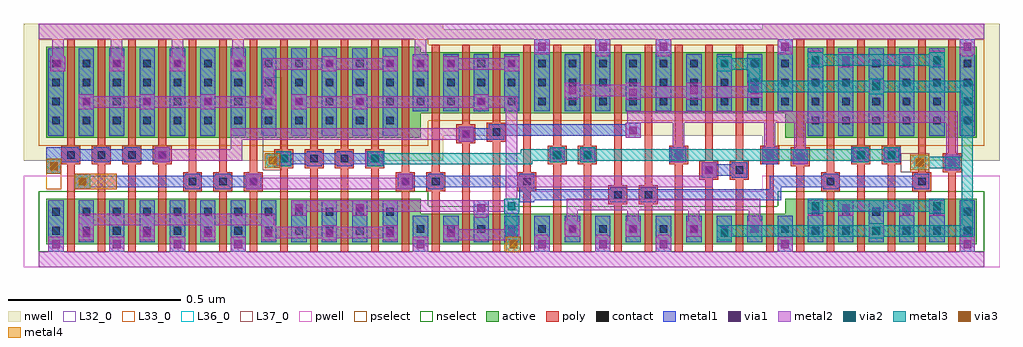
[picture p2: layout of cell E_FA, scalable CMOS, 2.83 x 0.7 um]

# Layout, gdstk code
import gdstk
lib = gdstk.Library(unit=1e-6, precision=1e-09)
def R(c, l, rs):  # rectangles x0, y0, x1, y1
    for r in rs: c.add(gdstk.rectangle(r[:2], r[2:], *l))
def A(c, l, x, y, w, h, nx, ny, dx, dy):  # array of equal rectangles
    R(c, l, [(x+i*dx, y+j*dy, x+i*dx+w, y+j*dy+h) for i in range(nx) for j in range(ny)])
contact = (25, 0)
via3 = (30, 0)
metal4 = (31, 0)
L32_0 = (32, 0)
L33_0 = (33, 0)
L36_0 = (36, 0)
L37_0 = (37, 0)
pwell = (41, 0)
nwell = (42, 0)
active = (43, 0)
pselect = (44, 0)
nselect = (45, 0)
poly = (46, 0)
metal1 = (49, 0)
via1 = (50, 0)
metal2 = (51, 0)
via2 = (61, 0)
metal3 = (62, 0)

e_fa = lib.new_cell('E_FA')
A(e_fa, contact, -1.446, -0.258, 0.022, 0.022, 10, 2, 0.088, 0.484)
A(e_fa, contact, -0.654, -0.258, 0.022, 0.022, 3, 1, 0.088, 0)
A(e_fa, contact, 0.754, -0.258, 0.022, 0.022, 6, 2, 0.088, 0.055)
A(e_fa, contact, -0.39, -0.253, 0.022, 0.022, 3, 1, 0.088, 0)
A(e_fa, contact, -0.126, -0.253, 0.022, 0.022, 5, 1, 0.088, 0)
A(e_fa, contact, 0.226, -0.253, 0.022, 0.022, 4, 1, 0.088, 0)
A(e_fa, contact, -1.446, -0.203, 0.022, 0.022, 12, 2, 0.088, 0.264)
A(e_fa, contact, -1.05, -0.115, 0.022, 0.022, 3, 1, 0.088, 0)
A(e_fa, contact, -0.786, -0.049, 0.022, 0.022, 4, 1, 0.088, 0)
A(e_fa, contact, -1.402, -0.038, 0.022, 0.022, 4, 1, 0.088, 0)
A(e_fa, contact, 0.094, -0.038, 0.022, 0.022, 4, 1, 0.264, 0)
A(e_fa, contact, 0.754, 0.061, 0.022, 0.022, 6, 1, 0.088, 0)
A(e_fa, contact, -1.446, 0.116, 0.022, 0.022, 4, 1, 0.088, 0)
A(e_fa, contact, -1.182, 0.116, 0.022, 0.022, 5, 1, 0.088, 0)
A(e_fa, contact, -0.83, 0.116, 0.022, 0.022, 24, 1, 0.088, 0)
A(e_fa, contact, -1.446, 0.171, 0.022, 0.022, 14, 1, 0.088, 0)
A(e_fa, contact, -0.214, 0.171, 0.022, 0.022, 17, 1, 0.088, 0)
A(e_fa, contact, -0.654, 0.226, 0.022, 0.022, 22, 1, 0.088, 0)
R(e_fa, contact, [(-0.214,-0.253,-0.192,-0.231), (-0.126,-0.253,-0.104,-0.231), (0.49,-0.253,0.512,-0.231), (0.578,-0.253,0.6,-0.231), (0.578,-0.253,0.6,-0.231), (0.666,-0.253,0.688,-0.231), (0.182,-0.154,0.204,-0.132), (0.27,-0.154,0.292,-0.132), (-0.434,-0.115,-0.412,-0.093), (-0.346,-0.115,-0.324,-0.093), (-0.082,-0.115,-0.06,-0.093), (0.798,-0.115,0.82,-0.093), (1.062,-0.115,1.084,-0.093), (0.446,-0.082,0.468,-0.06), (0.534,-0.082,0.556,-0.06), (1.15,-0.06,1.172,-0.038), (0.71,-0.044,0.732,-0.022), (0.006,-0.038,0.028,-0.016), (0.974,-0.038,0.996,-0.016), (-0.258,0.022,-0.236,0.044), (-0.17,0.028,-0.148,0.05), (-0.302,0.171,-0.28,0.193), (-0.214,0.171,-0.192,0.193)])
R(e_fa, via3, [(-0.121,-0.297,-0.099,-0.275), (-1.369,-0.115,-1.347,-0.093), (-1.452,-0.071,-1.43,-0.049), (1.056,-0.06,1.078,-0.038), (-0.819,-0.055,-0.797,-0.033)])
R(e_fa, metal4, [(-0.132,-0.308,-0.088,-0.264), (-0.132,-0.308,-0.088,-0.264), (-0.126,-0.302,-0.093,-0.269), (-1.38,-0.126,-1.336,-0.082), (-1.38,-0.126,-1.259,-0.082), (-1.463,-0.082,-1.419,-0.038), (-1.463,-0.082,-1.419,-0.038), (-1.457,-0.077,-1.424,-0.044), (1.04,-0.071,1.095,-0.027), (1.04,-0.071,1.095,-0.027), (-0.83,-0.066,-0.786,-0.022), (-0.83,-0.066,-0.786,-0.022), (1.051,-0.066,1.084,-0.033), (-0.825,-0.06,-0.792,-0.027)])
R(e_fa, L32_0, [(-0.121,-0.297,-0.099,-0.275), (-1.452,-0.071,-1.43,-0.049), (1.056,-0.06,1.078,-0.038), (-0.819,-0.055,-0.797,-0.033)])
R(e_fa, L33_0, [(-0.137,-0.308,-0.093,-0.264), (-0.132,-0.308,-0.088,-0.264), (-1.463,-0.126,-1.419,-0.038), (-1.463,-0.082,-1.419,-0.038), (1.04,-0.077,1.095,-0.022), (-0.836,-0.071,-0.781,-0.016), (1.04,-0.071,1.095,-0.027), (-0.83,-0.066,-0.786,-0.022), (1.051,-0.066,1.084,-0.033), (-0.825,-0.06,-0.792,-0.027)])
R(e_fa, L36_0, [(1.051,-0.066,1.084,-0.033), (-0.825,-0.06,-0.792,-0.027)])
R(e_fa, L37_0, [(1.012,-0.077,1.095,-0.022), (1.04,-0.077,1.095,-0.022), (-0.836,-0.071,-0.781,-0.016), (-0.836,-0.071,-0.781,0.198)])
A(e_fa, pwell, -1.529, -0.352, 0.187, 0.264, 12, 1, 0.088, 0)
A(e_fa, pwell, -1.501, -0.352, 0.22, 0.264, 12, 1, 0.088, 0)
A(e_fa, pwell, -0.473, -0.352, 0.187, 0.22, 13, 1, 0.088, 0)
A(e_fa, pwell, -0.445, -0.352, 0.22, 0.22, 12, 1, 0.088, 0)
A(e_fa, pwell, 0.611, -0.352, 0.22, 0.264, 6, 1, 0.088, 0)
A(e_fa, pwell, 0.671, -0.352, 0.187, 0.264, 6, 1, 0.088, 0)
A(e_fa, pwell, -0.201, -0.324, 0.168, 0.165, 3, 1, 0.003, 0)
A(e_fa, pwell, -0.019, -0.324, 0.168, 0.165, 3, 1, 0.085, 0)
A(e_fa, pwell, 0.327, -0.324, 0.174, 0.165, 4, 1, 0.088, 0)
A(e_fa, pwell, -1.433, -0.302, 0.174, 0.165, 4, 1, 0.176, 0)
A(e_fa, pwell, 0.858, -0.302, 0.168, 0.165, 3, 1, 0.088, 0)
A(e_fa, pwell, 0.943, -0.302, 0.174, 0.165, 3, 1, 0.088, 0)
R(e_fa, pwell, [(-0.03,-0.352,-0.027,-0.132), (0.055,-0.352,0.058,-0.132), (0.237,-0.352,0.239,-0.132), (0.322,-0.352,0.325,-0.132), (0.501,-0.352,0.503,-0.132), (-0.737,-0.341,-0.55,-0.154), (-0.729,-0.335,-0.555,-0.17), (-0.726,-0.335,-0.558,-0.17), (-0.723,-0.335,-0.555,-0.17), (-0.297,-0.335,-0.11,-0.148), (-0.209,-0.335,-0.022,-0.148), (0.143,-0.335,0.33,-0.148), (0.407,-0.335,0.594,-0.148), (0.495,-0.335,0.682,-0.148), (-0.465,-0.324,-0.297,-0.159), (-0.459,-0.324,-0.291,-0.159), (-0.377,-0.324,-0.203,-0.159), (-0.371,-0.324,-0.203,-0.159), (-0.289,-0.324,-0.115,-0.159), (-0.286,-0.324,-0.118,-0.159), (-0.283,-0.324,-0.115,-0.159), (-0.115,-0.324,0.058,-0.159), (0.063,-0.324,0.237,-0.159), (0.154,-0.324,0.325,-0.159), (0.242,-0.324,0.41,-0.159), (0.333,-0.324,0.501,-0.159), (0.415,-0.324,0.583,-0.159), (0.506,-0.324,0.674,-0.159), (0.509,-0.324,0.677,-0.159), (0.594,-0.324,0.762,-0.159), (-1.518,-0.302,-1.35,-0.137), (-1.427,-0.302,-1.259,-0.137), (-1.345,-0.302,-1.177,-0.137), (-1.342,-0.302,-1.174,-0.137), (-1.251,-0.302,-1.083,-0.137), (-1.169,-0.302,-1.001,-0.137), (-1.166,-0.302,-0.998,-0.137), (-1.075,-0.302,-0.907,-0.137), (-0.993,-0.302,-0.825,-0.137), (-0.99,-0.302,-0.822,-0.137), (-0.899,-0.302,-0.731,-0.137), (-0.817,-0.302,-0.649,-0.137), (-0.814,-0.302,-0.646,-0.137), (-0.641,-0.302,-0.473,-0.137), (-0.638,-0.302,-0.47,-0.137), (-0.553,-0.302,-0.379,-0.137), (-0.547,-0.302,-0.379,-0.137), (0.679,-0.302,0.853,-0.137), (0.682,-0.302,0.85,-0.137), (0.767,-0.302,0.941,-0.137), (0.77,-0.302,0.938,-0.137), (0.855,-0.302,1.023,-0.137)])
A(e_fa, nwell, -1.529, -0.044, 0.187, 0.396, 12, 1, 0.088, 0)
A(e_fa, nwell, -1.501, -0.044, 0.22, 0.396, 12, 1, 0.088, 0)
A(e_fa, nwell, 0.611, -0.044, 0.22, 0.396, 6, 1, 0.088, 0)
A(e_fa, nwell, 0.671, -0.044, 0.187, 0.396, 6, 1, 0.088, 0)
A(e_fa, nwell, -0.473, 0.028, 0.187, 0.308, 13, 1, 0.088, 0)
A(e_fa, nwell, -0.445, 0.028, 0.22, 0.308, 12, 1, 0.088, 0)
A(e_fa, nwell, -0.027, 0.028, 0.002, 0.308, 3, 1, 0.264, 0)
A(e_fa, nwell, 0.679, 0.072, 0.174, 0.165, 3, 1, 0.176, 0)
R(e_fa, nwell, [(-0.03,0.028,-0.027,0.336), (0.055,0.028,0.058,0.336), (0.234,0.028,0.237,0.336), (0.322,0.028,0.325,0.336), (-1.265,0.033,-1.078,0.22), (-0.913,0.033,-0.726,0.22), (-1.257,0.044,-1.089,0.209), (-1.257,0.044,-1.089,0.209), (-0.905,0.044,-0.737,0.209), (-0.905,0.044,-0.737,0.209), (-0.902,0.044,-0.734,0.209), (-1.518,0.072,-1.35,0.237), (-1.433,0.072,-1.265,0.237), (-1.43,0.072,-1.262,0.237), (-1.345,0.072,-1.177,0.237), (-1.342,0.072,-1.174,0.237), (-1.254,0.072,-1.086,0.237), (-1.169,0.072,-1.001,0.237), (-1.166,0.072,-0.998,0.237), (-1.081,0.072,-0.913,0.237), (-1.078,0.072,-0.91,0.237), (-0.993,0.072,-0.825,0.237), (-0.99,0.072,-0.822,0.237), (-0.817,0.072,-0.649,0.237), (-0.814,0.072,-0.646,0.237), (-0.641,0.072,-0.473,0.237), (-0.638,0.072,-0.47,0.237), (-0.553,0.072,-0.385,0.237), (-0.55,0.072,-0.382,0.237), (0.682,0.072,0.85,0.237), (0.767,0.072,0.935,0.237), (0.773,0.072,0.941,0.237), (0.861,0.072,1.029,0.237), (0.943,0.072,1.111,0.237), (0.949,0.072,1.117,0.237), (1.037,0.072,1.205,0.237), (1.119,0.072,1.293,0.237), (-0.385,0.088,-0.198,0.275), (-0.297,0.088,-0.11,0.275), (-0.465,0.099,-0.297,0.264), (-0.459,0.099,-0.291,0.264), (-0.377,0.099,-0.203,0.264), (-0.374,0.099,-0.206,0.264), (-0.371,0.099,-0.203,0.264), (-0.289,0.099,-0.115,0.264), (-0.286,0.099,-0.118,0.264), (-0.283,0.099,-0.115,0.264), (-0.201,0.099,-0.033,0.264), (-0.195,0.099,-0.027,0.264), (-0.019,0.116,0.149,0.281), (0.063,0.116,0.231,0.281), (0.069,0.116,0.237,0.281), (0.245,0.116,0.413,0.281), (0.327,0.116,0.501,0.281), (0.333,0.116,0.501,0.281), (0.415,0.116,0.583,0.281), (0.503,0.116,0.677,0.281), (0.509,0.116,0.677,0.281), (0.591,0.116,0.759,0.281), (0.594,0.116,0.762,0.281), (-0.737,0.143,-0.55,0.33), (-0.729,0.154,-0.561,0.319), (-0.726,0.154,-0.558,0.319), (-0.726,0.154,-0.558,0.319)])
A(e_fa, active, -1.463, -0.286, 0.055, 0.132, 12, 1, 0.088, 0)
A(e_fa, active, -1.435, -0.286, 0.088, 0.132, 12, 1, 0.088, 0)
A(e_fa, active, -0.407, -0.286, 0.055, 0.088, 13, 1, 0.088, 0)
A(e_fa, active, -0.379, -0.286, 0.088, 0.088, 12, 1, 0.088, 0)
A(e_fa, active, 0.677, -0.286, 0.088, 0.132, 6, 1, 0.088, 0)
A(e_fa, active, 0.737, -0.286, 0.055, 0.132, 6, 1, 0.088, 0)
A(e_fa, active, -0.135, -0.258, 0.036, 0.033, 3, 1, 0.003, 0)
A(e_fa, active, 0.047, -0.258, 0.036, 0.033, 3, 1, 0.085, 0)
A(e_fa, active, 0.393, -0.258, 0.042, 0.033, 4, 1, 0.088, 0)
A(e_fa, active, -1.367, -0.236, 0.042, 0.033, 4, 1, 0.176, 0)
A(e_fa, active, 0.924, -0.236, 0.036, 0.033, 3, 1, 0.088, 0)
A(e_fa, active, 1.009, -0.236, 0.042, 0.033, 3, 1, 0.088, 0)
A(e_fa, active, -1.463, 0.022, 0.055, 0.264, 12, 1, 0.088, 0)
A(e_fa, active, -1.435, 0.022, 0.088, 0.264, 12, 1, 0.088, 0)
A(e_fa, active, 0.677, 0.022, 0.088, 0.264, 6, 1, 0.088, 0)
A(e_fa, active, 0.737, 0.022, 0.055, 0.264, 6, 1, 0.088, 0)
A(e_fa, active, -0.407, 0.094, 0.055, 0.176, 13, 1, 0.088, 0)
A(e_fa, active, -0.379, 0.094, 0.088, 0.176, 12, 1, 0.088, 0)
A(e_fa, active, -0.027, 0.094, 0.002, 0.176, 3, 1, 0.264, 0)
A(e_fa, active, 0.745, 0.138, 0.042, 0.033, 3, 1, 0.176, 0)
R(e_fa, active, [(-0.03,-0.286,-0.027,-0.198), (0.055,-0.286,0.058,-0.198), (0.237,-0.286,0.239,-0.198), (0.322,-0.286,0.325,-0.198), (0.501,-0.286,0.503,-0.198), (-0.671,-0.275,-0.616,-0.22), (-0.663,-0.269,-0.621,-0.236), (-0.66,-0.269,-0.624,-0.236), (-0.657,-0.269,-0.621,-0.236), (-0.231,-0.269,-0.176,-0.214), (-0.143,-0.269,-0.088,-0.214), (0.209,-0.269,0.264,-0.214), (0.473,-0.269,0.528,-0.214), (0.561,-0.269,0.616,-0.214), (-0.399,-0.258,-0.363,-0.225), (-0.393,-0.258,-0.357,-0.225), (-0.311,-0.258,-0.269,-0.225), (-0.305,-0.258,-0.269,-0.225), (-0.223,-0.258,-0.181,-0.225), (-0.22,-0.258,-0.184,-0.225), (-0.217,-0.258,-0.181,-0.225), (-0.049,-0.258,-0.008,-0.225), (0.129,-0.258,0.171,-0.225), (0.22,-0.258,0.259,-0.225), (0.308,-0.258,0.344,-0.225), (0.399,-0.258,0.435,-0.225), (0.481,-0.258,0.517,-0.225), (0.572,-0.258,0.608,-0.225), (0.575,-0.258,0.611,-0.225), (0.66,-0.258,0.696,-0.225), (-1.452,-0.236,-1.416,-0.203), (-1.361,-0.236,-1.325,-0.203), (-1.279,-0.236,-1.243,-0.203), (-1.276,-0.236,-1.24,-0.203), (-1.185,-0.236,-1.149,-0.203), (-1.103,-0.236,-1.067,-0.203), (-1.1,-0.236,-1.064,-0.203), (-1.009,-0.236,-0.973,-0.203), (-0.927,-0.236,-0.891,-0.203), (-0.924,-0.236,-0.888,-0.203), (-0.833,-0.236,-0.797,-0.203), (-0.751,-0.236,-0.715,-0.203), (-0.748,-0.236,-0.712,-0.203), (-0.575,-0.236,-0.539,-0.203), (-0.572,-0.236,-0.536,-0.203), (-0.487,-0.236,-0.445,-0.203), (-0.481,-0.236,-0.445,-0.203), (0.745,-0.236,0.787,-0.203), (0.748,-0.236,0.784,-0.203), (0.833,-0.236,0.875,-0.203), (0.836,-0.236,0.872,-0.203), (0.921,-0.236,0.957,-0.203), (-0.03,0.094,-0.027,0.27), (0.055,0.094,0.058,0.27), (0.234,0.094,0.237,0.27), (0.322,0.094,0.325,0.27), (-1.199,0.099,-1.144,0.154), (-0.847,0.099,-0.792,0.154), (-1.191,0.11,-1.155,0.143), (-1.191,0.11,-1.155,0.143), (-0.839,0.11,-0.803,0.143), (-0.839,0.11,-0.803,0.143), (-0.836,0.11,-0.8,0.143), (-1.452,0.138,-1.416,0.171), (-1.367,0.138,-1.331,0.171), (-1.364,0.138,-1.328,0.171), (-1.279,0.138,-1.243,0.171), (-1.276,0.138,-1.24,0.171), (-1.188,0.138,-1.152,0.171), (-1.103,0.138,-1.067,0.171), (-1.1,0.138,-1.064,0.171), (-1.015,0.138,-0.979,0.171), (-1.012,0.138,-0.976,0.171), (-0.927,0.138,-0.891,0.171), (-0.924,0.138,-0.888,0.171), (-0.751,0.138,-0.715,0.171), (-0.748,0.138,-0.712,0.171), (-0.575,0.138,-0.539,0.171), (-0.572,0.138,-0.536,0.171), (-0.487,0.138,-0.451,0.171), (-0.484,0.138,-0.448,0.171), (0.748,0.138,0.784,0.171), (0.833,0.138,0.869,0.171), (0.839,0.138,0.875,0.171), (0.927,0.138,0.963,0.171), (1.009,0.138,1.045,0.171), (1.015,0.138,1.051,0.171), (1.103,0.138,1.139,0.171), (1.185,0.138,1.227,0.171), (-0.319,0.154,-0.264,0.209), (-0.231,0.154,-0.176,0.209), (-0.399,0.165,-0.363,0.198), (-0.393,0.165,-0.357,0.198), (-0.311,0.165,-0.269,0.198), (-0.308,0.165,-0.272,0.198), (-0.305,0.165,-0.269,0.198), (-0.223,0.165,-0.181,0.198), (-0.22,0.165,-0.184,0.198), (-0.217,0.165,-0.181,0.198), (-0.135,0.165,-0.099,0.198), (-0.129,0.165,-0.093,0.198), (0.047,0.182,0.083,0.215), (0.129,0.182,0.165,0.215), (0.135,0.182,0.171,0.215), (0.311,0.182,0.347,0.215), (0.393,0.182,0.435,0.215), (0.399,0.182,0.435,0.215), (0.481,0.182,0.517,0.215), (0.569,0.182,0.611,0.215), (0.575,0.182,0.611,0.215), (0.657,0.182,0.693,0.215), (0.66,0.182,0.696,0.215), (-0.671,0.209,-0.616,0.264), (-0.663,0.22,-0.627,0.253), (-0.66,0.22,-0.624,0.253), (-0.66,0.22,-0.624,0.253)])
A(e_fa, pselect, -1.485, 0, 0.099, 0.308, 12, 1, 0.088, 0)
A(e_fa, pselect, -1.457, 0, 0.132, 0.308, 12, 1, 0.088, 0)
A(e_fa, pselect, 0.655, 0, 0.132, 0.308, 6, 1, 0.088, 0)
A(e_fa, pselect, 0.715, 0, 0.099, 0.308, 6, 1, 0.088, 0)
A(e_fa, pselect, -0.429, 0.072, 0.099, 0.22, 13, 1, 0.088, 0)
A(e_fa, pselect, -0.401, 0.072, 0.132, 0.22, 12, 1, 0.088, 0)
A(e_fa, pselect, -0.027, 0.072, 0.002, 0.22, 3, 1, 0.264, 0)
A(e_fa, pselect, 0.723, 0.116, 0.086, 0.077, 3, 1, 0.176, 0)
R(e_fa, pselect, [(-0.03,0.072,-0.027,0.292), (0.055,0.072,0.058,0.292), (0.234,0.072,0.237,0.292), (0.322,0.072,0.325,0.292), (-1.221,0.077,-1.122,0.176), (-0.869,0.077,-0.77,0.176), (-1.213,0.088,-1.133,0.165), (-1.213,0.088,-1.133,0.165), (-0.861,0.088,-0.781,0.165), (-0.861,0.088,-0.781,0.165), (-0.858,0.088,-0.778,0.165), (-1.474,0.116,-1.394,0.193), (-1.389,0.116,-1.309,0.193), (-1.386,0.116,-1.306,0.193), (-1.301,0.116,-1.221,0.193), (-1.298,0.116,-1.218,0.193), (-1.21,0.116,-1.13,0.193), (-1.125,0.116,-1.045,0.193), (-1.122,0.116,-1.042,0.193), (-1.037,0.116,-0.957,0.193), (-1.034,0.116,-0.954,0.193), (-0.949,0.116,-0.869,0.193), (-0.946,0.116,-0.866,0.193), (-0.773,0.116,-0.693,0.193), (-0.77,0.116,-0.69,0.193), (-0.597,0.116,-0.517,0.193), (-0.594,0.116,-0.514,0.193), (-0.509,0.116,-0.429,0.193), (-0.506,0.116,-0.426,0.193), (0.726,0.116,0.806,0.193), (0.811,0.116,0.891,0.193), (0.817,0.116,0.897,0.193), (0.905,0.116,0.985,0.193), (0.987,0.116,1.067,0.193), (0.993,0.116,1.073,0.193), (1.081,0.116,1.161,0.193), (1.163,0.116,1.249,0.193), (-0.341,0.132,-0.242,0.231), (-0.253,0.132,-0.154,0.231), (-0.421,0.143,-0.341,0.22), (-0.415,0.143,-0.335,0.22), (-0.333,0.143,-0.247,0.22), (-0.33,0.143,-0.25,0.22), (-0.327,0.143,-0.247,0.22), (-0.245,0.143,-0.159,0.22), (-0.242,0.143,-0.162,0.22), (-0.239,0.143,-0.159,0.22), (-0.157,0.143,-0.077,0.22), (-0.151,0.143,-0.071,0.22), (0.025,0.16,0.105,0.237), (0.107,0.16,0.187,0.237), (0.113,0.16,0.193,0.237), (0.289,0.16,0.369,0.237), (0.371,0.16,0.457,0.237), (0.377,0.16,0.457,0.237), (0.459,0.16,0.539,0.237), (0.547,0.16,0.633,0.237), (0.553,0.16,0.633,0.237), (0.635,0.16,0.715,0.237), (0.638,0.16,0.718,0.237), (-0.693,0.187,-0.594,0.286), (-0.685,0.198,-0.605,0.275), (-0.682,0.198,-0.602,0.275), (-0.682,0.198,-0.602,0.275)])
A(e_fa, nselect, -1.485, -0.308, 0.099, 0.176, 12, 1, 0.088, 0)
A(e_fa, nselect, -1.457, -0.308, 0.132, 0.176, 12, 1, 0.088, 0)
A(e_fa, nselect, -0.429, -0.308, 0.099, 0.132, 13, 1, 0.088, 0)
A(e_fa, nselect, -0.401, -0.308, 0.132, 0.132, 12, 1, 0.088, 0)
A(e_fa, nselect, 0.655, -0.308, 0.132, 0.176, 6, 1, 0.088, 0)
A(e_fa, nselect, 0.715, -0.308, 0.099, 0.176, 6, 1, 0.088, 0)
A(e_fa, nselect, -0.157, -0.28, 0.08, 0.077, 3, 1, 0.003, 0)
A(e_fa, nselect, 0.025, -0.28, 0.08, 0.077, 3, 1, 0.085, 0)
A(e_fa, nselect, 0.371, -0.28, 0.086, 0.077, 4, 1, 0.088, 0)
A(e_fa, nselect, -1.389, -0.258, 0.086, 0.077, 4, 1, 0.176, 0)
A(e_fa, nselect, 0.902, -0.258, 0.08, 0.077, 3, 1, 0.088, 0)
A(e_fa, nselect, 0.987, -0.258, 0.086, 0.077, 3, 1, 0.088, 0)
R(e_fa, nselect, [(-0.03,-0.308,-0.027,-0.176), (0.055,-0.308,0.058,-0.176), (0.237,-0.308,0.239,-0.176), (0.322,-0.308,0.325,-0.176), (0.501,-0.308,0.503,-0.176), (-0.693,-0.297,-0.594,-0.198), (-0.685,-0.291,-0.599,-0.214), (-0.682,-0.291,-0.602,-0.214), (-0.679,-0.291,-0.599,-0.214), (-0.253,-0.291,-0.154,-0.192), (-0.165,-0.291,-0.066,-0.192), (0.187,-0.291,0.286,-0.192), (0.451,-0.291,0.55,-0.192), (0.539,-0.291,0.638,-0.192), (-0.421,-0.28,-0.341,-0.203), (-0.415,-0.28,-0.335,-0.203), (-0.333,-0.28,-0.247,-0.203), (-0.327,-0.28,-0.247,-0.203), (-0.245,-0.28,-0.159,-0.203), (-0.242,-0.28,-0.162,-0.203), (-0.239,-0.28,-0.159,-0.203), (-0.071,-0.28,0.014,-0.203), (0.107,-0.28,0.193,-0.203), (0.198,-0.28,0.281,-0.203), (0.286,-0.28,0.366,-0.203), (0.377,-0.28,0.457,-0.203), (0.459,-0.28,0.539,-0.203), (0.55,-0.28,0.63,-0.203), (0.553,-0.28,0.633,-0.203), (0.638,-0.28,0.718,-0.203), (-1.474,-0.258,-1.394,-0.181), (-1.383,-0.258,-1.303,-0.181), (-1.301,-0.258,-1.221,-0.181), (-1.298,-0.258,-1.218,-0.181), (-1.207,-0.258,-1.127,-0.181), (-1.125,-0.258,-1.045,-0.181), (-1.122,-0.258,-1.042,-0.181), (-1.031,-0.258,-0.951,-0.181), (-0.949,-0.258,-0.869,-0.181), (-0.946,-0.258,-0.866,-0.181), (-0.855,-0.258,-0.775,-0.181), (-0.773,-0.258,-0.693,-0.181), (-0.77,-0.258,-0.69,-0.181), (-0.597,-0.258,-0.517,-0.181), (-0.594,-0.258,-0.514,-0.181), (-0.509,-0.258,-0.423,-0.181), (-0.503,-0.258,-0.423,-0.181), (0.723,-0.258,0.809,-0.181), (0.726,-0.258,0.806,-0.181), (0.811,-0.258,0.897,-0.181), (0.814,-0.258,0.894,-0.181), (0.899,-0.258,0.979,-0.181)])
A(e_fa, poly, -1.402, -0.308, 0.022, 0.176, 12, 1, 0.088, 0)
A(e_fa, poly, -0.346, -0.308, 0.022, 0.132, 12, 1, 0.088, 0)
A(e_fa, poly, 0.71, -0.308, 0.022, 0.176, 6, 1, 0.088, 0)
A(e_fa, poly, -1.402, -0.143, 0.022, 0.127, 4, 1, 0.088, 0)
A(e_fa, poly, -1.05, -0.143, 0.022, 0.05, 3, 1, 0.088, 0)
A(e_fa, poly, -0.786, -0.143, 0.022, 0.116, 4, 1, 0.088, 0)
A(e_fa, poly, -1.067, -0.132, 0.055, 0.055, 3, 1, 0.088, 0)
A(e_fa, poly, -1.056, -0.115, 0.028, 0.022, 3, 1, 0.088, 0)
A(e_fa, poly, -1.05, -0.115, 0.022, 0.126, 3, 1, 0.088, 0)
A(e_fa, poly, -0.803, -0.066, 0.055, 0.055, 4, 1, 0.088, 0)
A(e_fa, poly, -1.419, -0.055, 0.055, 0.055, 4, 1, 0.088, 0)
A(e_fa, poly, 0.077, -0.055, 0.055, 0.055, 4, 1, 0.264, 0)
A(e_fa, poly, -0.792, -0.049, 0.028, 0.022, 4, 1, 0.088, 0)
A(e_fa, poly, -0.786, -0.049, 0.022, 0.06, 4, 1, 0.088, 0)
A(e_fa, poly, -1.408, -0.038, 0.028, 0.022, 4, 1, 0.088, 0)
A(e_fa, poly, -1.402, -0.038, 0.022, 0.049, 4, 1, 0.088, 0)
A(e_fa, poly, -1.402, 0, 0.022, 0.308, 12, 1, 0.088, 0)
A(e_fa, poly, 0.71, 0, 0.022, 0.308, 6, 1, 0.088, 0)
A(e_fa, poly, -0.346, 0.072, 0.022, 0.22, 12, 1, 0.088, 0)
R(e_fa, poly, [(-0.346,-0.187,-0.324,-0.093), (-0.258,-0.187,-0.236,0.039), (-0.17,-0.187,-0.148,0.044), (-0.082,-0.187,-0.06,-0.088), (0.006,-0.187,0.028,-0.016), (0.094,-0.187,0.116,-0.016), (0.182,-0.187,0.204,-0.132), (0.27,-0.187,0.292,-0.126), (0.358,-0.187,0.38,-0.016), (0.446,-0.187,0.468,-0.066), (0.534,-0.187,0.556,-0.055), (0.622,-0.187,0.644,-0.022), (0.165,-0.17,0.22,-0.115), (0.253,-0.17,0.308,-0.115), (0.176,-0.154,0.204,-0.132), (0.182,-0.154,0.204,0.083), (0.264,-0.148,0.292,-0.126), (0.27,-0.148,0.292,0.083), (-0.434,-0.143,-0.412,-0.093), (0.71,-0.143,0.732,-0.022), (0.798,-0.143,0.82,-0.093), (0.886,-0.143,0.908,-0.016), (0.974,-0.143,0.996,-0.016), (1.062,-0.143,1.084,-0.093), (1.15,-0.143,1.172,-0.038), (-0.451,-0.132,-0.396,-0.077), (-0.363,-0.132,-0.308,-0.077), (-0.099,-0.132,-0.044,-0.077), (0.781,-0.132,0.836,-0.077), (1.045,-0.132,1.1,-0.077), (-0.44,-0.115,-0.412,-0.093), (-0.434,-0.115,-0.412,0.011), (-0.352,-0.115,-0.324,-0.093), (-0.346,-0.115,-0.324,0.083), (0.792,-0.115,0.82,-0.093), (0.798,-0.115,0.82,0.011), (1.056,-0.115,1.084,-0.093), (1.062,-0.115,1.084,0.011), (-0.088,-0.11,-0.06,-0.088), (-0.082,-0.11,-0.06,0.083), (0.429,-0.099,0.484,-0.044), (0.517,-0.099,0.572,-0.044), (0.44,-0.088,0.468,-0.066), (0.446,-0.088,0.468,0.083), (0.528,-0.077,0.556,-0.055), (0.534,-0.077,0.556,0.083), (1.133,-0.077,1.188,-0.022), (0.693,-0.06,0.748,-0.005), (1.144,-0.06,1.172,-0.038), (1.15,-0.06,1.172,0.011), (-0.011,-0.055,0.044,0), (0.957,-0.055,1.012,0), (0.616,-0.044,0.644,-0.022), (0.622,-0.044,0.644,0.083), (0.704,-0.044,0.732,-0.022), (0.71,-0.044,0.732,0.011), (0,-0.038,0.028,-0.016), (0.006,-0.038,0.028,0.083), (0.094,-0.038,0.116,0.083), (0.094,-0.038,0.116,-0.016), (0.358,-0.038,0.38,0.083), (0.358,-0.038,0.38,-0.016), (0.88,-0.038,0.908,-0.016), (0.886,-0.038,0.908,0.011), (0.968,-0.038,0.996,-0.016), (0.974,-0.038,0.996,0.011), (-0.275,0.006,-0.22,0.061), (-0.187,0.011,-0.132,0.066), (-0.264,0.017,-0.236,0.039), (-0.258,0.017,-0.236,0.083), (-0.176,0.022,-0.148,0.044), (-0.17,0.022,-0.148,0.083)])
A(e_fa, metal1, -1.457, -0.308, 0.044, 0.044, 4, 1, 0.176, 0)
A(e_fa, metal1, -1.276, -0.308, 0.033, 0.105, 3, 1, 0.176, 0)
A(e_fa, metal1, -0.049, -0.308, 0.044, 0.044, 3, 2, 0.176, 0.572)
A(e_fa, metal1, -1.457, -0.28, 0.044, 0.121, 12, 1, 0.088, 0)
A(e_fa, metal1, -0.401, -0.28, 0.044, 0.077, 13, 1, 0.088, 0)
A(e_fa, metal1, 0.743, -0.28, 0.044, 0.121, 6, 1, 0.088, 0)
A(e_fa, metal1, -1.369, -0.275, 0.044, 0.044, 8, 1, 0.176, 0)
A(e_fa, metal1, -0.137, -0.264, 0.044, 0.044, 3, 1, 0.176, 0)
A(e_fa, metal1, 0.391, -0.264, 0.044, 0.044, 3, 1, 0.088, 0)
A(e_fa, metal1, -1.061, -0.126, 0.044, 0.044, 3, 1, 0.088, 0)
A(e_fa, metal1, -0.797, -0.06, 0.044, 0.044, 4, 1, 0.088, 0)
A(e_fa, metal1, -0.792, -0.055, 0.121, 0.033, 3, 1, 0.088, 0)
A(e_fa, metal1, -1.413, -0.049, 0.044, 0.044, 4, 1, 0.088, 0)
A(e_fa, metal1, -1.408, -0.044, 0.121, 0.033, 3, 1, 0.088, 0)
A(e_fa, metal1, -1.457, 0.028, 0.044, 0.253, 12, 1, 0.088, 0)
A(e_fa, metal1, 0.743, 0.028, 0.044, 0.253, 6, 1, 0.088, 0)
A(e_fa, metal1, -0.401, 0.099, 0.044, 0.165, 13, 1, 0.088, 0)
A(e_fa, metal1, -1.193, 0.105, 0.044, 0.044, 3, 1, 0.176, 0)
A(e_fa, metal1, -1.281, 0.215, 0.044, 0.044, 3, 1, 0.176, 0)
A(e_fa, metal1, -0.489, 0.215, 0.044, 0.044, 3, 1, 0.088, 0)
R(e_fa, metal1, [(-1.457,-0.308,-1.413,-0.198), (-0.401,-0.308,-0.357,-0.264), (0.655,-0.308,0.699,-0.264), (1.183,-0.308,1.227,-0.264), (-0.396,-0.297,-0.363,-0.203), (-0.132,-0.28,-0.099,-0.225), (-0.825,-0.275,-0.819,-0.231), (-0.467,-0.275,-0.456,-0.231), (0.215,-0.275,0.259,-0.225), (0.479,-0.275,0.523,-0.231), (0.484,-0.275,0.517,-0.225), (-1.347,-0.269,-1.342,-0.225), (-0.665,-0.269,-0.621,-0.225), (0.919,-0.269,0.963,-0.225), (-0.225,-0.264,-0.181,-0.22), (0.215,-0.264,0.259,-0.22), (0.215,-0.264,0.259,-0.22), (0.567,-0.264,0.611,-0.22), (0.22,-0.258,0.253,-0.225), (0.572,-0.258,0.605,-0.225), (1.095,-0.247,1.139,-0.159), (0.743,-0.242,0.787,-0.159), (-0.753,-0.203,-0.709,-0.159), (-0.577,-0.203,-0.533,-0.159), (-0.225,-0.203,-0.181,-0.159), (0.743,-0.203,0.787,-0.159), (0.831,-0.203,0.875,-0.159), (1.007,-0.203,1.051,-0.159), (1.095,-0.203,1.139,-0.159), (-0.093,-0.165,-0.049,-0.082), (0.171,-0.165,0.215,-0.121), (0.259,-0.165,0.303,-0.121), (-0.088,-0.159,0.006,-0.126), (-0.027,-0.159,0.204,-0.126), (0.171,-0.159,0.297,-0.126), (0.264,-0.159,0.666,-0.126), (0.633,-0.159,0.666,-0.088), (-1.38,-0.126,-1.336,-0.082), (-0.968,-0.126,-0.935,-0.088), (-0.885,-0.126,-0.841,-0.082), (-0.88,-0.126,-0.847,-0.088), (-0.445,-0.126,-0.401,-0.082), (-0.445,-0.126,-0.401,-0.082), (-0.445,-0.126,-0.401,-0.082), (-0.357,-0.126,-0.313,-0.082), (-0.093,-0.126,-0.049,-0.082), (0.787,-0.126,0.831,-0.082), (1.051,-0.126,1.095,-0.082), (-1.375,-0.121,-1.023,-0.088), (-1.056,-0.121,-0.935,-0.088), (-0.968,-0.121,-0.847,-0.088), (-0.88,-0.121,-0.841,-0.088), (-0.44,-0.121,-0.319,-0.088), (-0.44,-0.121,-0.407,-0.088), (-0.352,-0.121,-0.121,-0.088), (-0.154,-0.121,-0.055,-0.088), (-0.154,-0.121,-0.121,-0.088), (0.633,-0.121,0.825,-0.088), (0.792,-0.121,1.089,-0.088), (0.435,-0.093,0.479,-0.049), (0.435,-0.093,0.479,-0.049), (0.523,-0.093,0.567,-0.049), (0.44,-0.088,0.561,-0.055), (-1.463,-0.082,-1.419,-0.005), (-1.463,-0.082,-1.419,-0.038), (0.435,-0.082,0.473,-0.049), (1.139,-0.071,1.183,-0.027), (1.139,-0.071,1.183,-0.027), (1.144,-0.066,1.177,-0.033), (-0.797,-0.06,-0.753,-0.016), (-0.533,-0.06,-0.489,-0.016), (-0.533,-0.06,-0.484,-0.016), (-0.797,-0.055,-0.753,-0.022), (0.611,-0.055,0.655,-0.011), (0.699,-0.055,0.743,-0.011), (0.699,-0.055,0.743,-0.011), (0.704,-0.055,0.737,-0.016), (-1.463,-0.049,-1.369,-0.005), (-1.149,-0.049,-1.105,-0.005), (-0.005,-0.049,0.039,-0.005), (-0.005,-0.049,0.039,-0.005), (0.083,-0.049,0.127,-0.005), (0.083,-0.049,0.127,-0.005), (0.341,-0.049,0.391,-0.005), (0.347,-0.049,0.391,-0.005), (0.347,-0.049,0.391,-0.005), (0.611,-0.049,0.655,-0.005), (0.611,-0.049,0.655,-0.005), (0.869,-0.049,0.919,-0.005), (0.875,-0.049,0.919,-0.005), (0.875,-0.049,0.919,-0.005), (0.963,-0.049,1.007,-0.005), (0.963,-0.049,1.007,-0.005), (0.963,-0.049,1.012,-0.005), (-1.144,-0.044,-1.105,-0.011), (0,-0.044,0.033,-0.011), (0.088,-0.044,0.121,-0.011), (-0.269,0.011,-0.225,0.055), (-0.269,0.011,-0.225,0.055), (-0.264,0.011,-0.231,0.044), (-0.264,0.017,-0.143,0.05), (-0.181,0.017,-0.137,0.061), (0.215,0.022,0.259,0.066), (-0.176,0.028,0.253,0.061), (-1.369,0.105,-1.325,0.149), (-1.193,0.105,-1.149,0.149), (-0.841,0.105,-0.797,0.149), (-0.753,0.105,-0.709,0.149), (-0.731,0.105,-0.726,0.149), (-0.577,0.105,-0.533,0.149), (-0.555,0.105,-0.55,0.149), (-0.225,0.105,-0.181,0.149), (-0.836,0.11,-0.803,0.149), (-0.22,0.11,-0.187,0.198), (-1.188,0.116,-1.155,0.149), (0.215,0.121,0.259,0.204), (0.215,0.132,0.259,0.176), (0.919,0.132,0.963,0.198), (-1.452,0.138,-1.419,0.259), (-1.276,0.138,-1.243,0.264), (-1.1,0.138,-1.067,0.253), (-0.924,0.138,-0.891,0.264), (0.039,0.138,0.083,0.182), (0.391,0.138,0.435,0.182), (0.567,0.138,0.611,0.182), (0.919,0.149,0.963,0.193), (-0.313,0.16,-0.269,0.204), (-0.225,0.16,-0.181,0.204), (-0.396,0.165,-0.363,0.259), (-0.308,0.165,-0.275,0.248), (-1.452,0.215,-1.408,0.259), (-0.665,0.215,-0.621,0.259), (-0.665,0.215,-0.621,0.259), (-0.66,0.215,-0.627,0.253), (-0.137,0.215,-0.093,0.259), (0.479,0.215,0.523,0.259), (0.743,0.226,0.787,0.27), (0.831,0.226,0.875,0.27), (1.007,0.226,1.051,0.27), (1.095,0.226,1.139,0.27), (0.655,0.264,0.699,0.308), (1.183,0.264,1.227,0.308)])
A(e_fa, via1, -1.446, -0.297, 0.022, 0.022, 4, 1, 0.176, 0)
A(e_fa, via1, -0.038, -0.297, 0.022, 0.022, 3, 2, 0.176, 0.572)
A(e_fa, via1, -1.358, -0.264, 0.022, 0.022, 8, 1, 0.176, 0)
A(e_fa, via1, 0.226, -0.253, 0.022, 0.022, 3, 1, 0.176, 0)
A(e_fa, via1, 0.094, -0.038, 0.022, 0.022, 4, 1, 0.264, 0)
A(e_fa, via1, -1.358, 0.116, 0.022, 0.022, 4, 1, 0.176, 0)
A(e_fa, via1, -1.27, 0.226, 0.022, 0.022, 3, 1, 0.176, 0)
A(e_fa, via1, -0.478, 0.226, 0.022, 0.022, 3, 1, 0.088, 0)
R(e_fa, via1, [(-0.39,-0.297,-0.368,-0.275), (0.666,-0.297,0.688,-0.275), (1.194,-0.297,1.216,-0.275), (0.49,-0.264,0.512,-0.242), (0.93,-0.258,0.952,-0.236), (0.05,-0.253,0.072,-0.231), (0.226,-0.253,0.248,-0.231), (-0.742,-0.192,-0.72,-0.17), (-0.566,-0.192,-0.544,-0.17), (-0.214,-0.192,-0.192,-0.17), (0.754,-0.192,0.776,-0.17), (0.842,-0.192,0.864,-0.17), (1.018,-0.192,1.04,-0.17), (1.106,-0.192,1.128,-0.17), (-1.369,-0.115,-1.347,-0.093), (-0.874,-0.115,-0.852,-0.093), (-0.434,-0.115,-0.412,-0.093), (0.446,-0.082,0.468,-0.06), (-1.452,-0.071,-1.43,-0.049), (1.15,-0.06,1.172,-0.038), (-0.786,-0.049,-0.764,-0.027), (-0.522,-0.049,-0.5,-0.027), (0.71,-0.044,0.732,-0.022), (-1.138,-0.038,-1.116,-0.016), (0.006,-0.038,0.028,-0.016), (0.974,-0.038,0.996,-0.016), (-0.258,0.022,-0.236,0.044), (0.226,0.033,0.248,0.055), (-0.742,0.116,-0.72,0.138), (-0.566,0.116,-0.544,0.138), (-0.214,0.116,-0.192,0.138), (0.226,0.143,0.248,0.165), (0.05,0.149,0.072,0.171), (0.402,0.149,0.424,0.171), (0.578,0.149,0.6,0.171), (0.93,0.16,0.952,0.182), (-1.441,0.226,-1.419,0.248), (-0.654,0.226,-0.632,0.248), (-0.126,0.226,-0.104,0.248), (0.49,0.226,0.512,0.248), (0.754,0.237,0.776,0.259), (0.842,0.237,0.864,0.259), (1.018,0.237,1.04,0.259), (1.106,0.237,1.128,0.259), (0.666,0.275,0.688,0.297), (1.194,0.275,1.216,0.297)])
A(e_fa, metal2, -1.457, -0.352, 0.22, 0.044, 3, 1, 0.176, 0)
A(e_fa, metal2, -1.452, -0.346, 0.033, 0.071, 4, 1, 0.176, 0)
A(e_fa, metal2, -0.044, -0.346, 0.033, 0.088, 3, 1, 0.176, 0)
A(e_fa, metal2, -1.457, -0.308, 0.044, 0.044, 4, 1, 0.176, 0)
A(e_fa, metal2, -0.049, -0.308, 0.044, 0.044, 3, 2, 0.176, 0.572)
A(e_fa, metal2, -1.369, -0.275, 0.044, 0.044, 8, 1, 0.176, 0)
A(e_fa, metal2, -0.836, -0.269, 0.033, 0.033, 3, 1, 0.176, 0)
A(e_fa, metal2, 0.215, -0.264, 0.044, 0.044, 3, 1, 0.176, 0)
A(e_fa, metal2, 0.044, -0.258, 0.033, 0.104, 4, 1, 0.176, 0)
A(e_fa, metal2, 0.044, -0.187, 0.209, 0.033, 3, 1, 0.176, 0)
A(e_fa, metal2, 0.083, -0.049, 0.044, 0.044, 4, 1, 0.264, 0)
A(e_fa, metal2, -1.369, 0.105, 0.044, 0.044, 4, 1, 0.176, 0)
A(e_fa, metal2, -1.364, 0.11, 0.209, 0.033, 3, 1, 0.176, 0)
A(e_fa, metal2, -1.281, 0.215, 0.044, 0.044, 3, 1, 0.176, 0)
A(e_fa, metal2, -0.489, 0.215, 0.044, 0.044, 3, 1, 0.088, 0)
R(e_fa, metal2, [(-1.485,-0.352,-1.413,-0.308), (-1.457,-0.352,-1.413,-0.308), (-0.929,-0.352,-0.357,-0.308), (-0.401,-0.352,-0.005,-0.308), (-0.049,-0.352,0.171,-0.308), (0.127,-0.352,0.347,-0.308), (0.303,-0.352,0.699,-0.308), (0.655,-0.352,1.227,-0.308), (1.183,-0.352,1.254,-0.308), (-0.396,-0.346,-0.363,-0.264), (0.66,-0.346,0.693,-0.264), (1.188,-0.346,1.221,-0.258), (-0.401,-0.308,-0.357,-0.264), (0.655,-0.308,0.699,-0.264), (1.183,-0.308,1.227,-0.264), (-0.308,-0.275,-0.099,-0.242), (-0.308,-0.275,-0.275,-0.231), (-0.132,-0.275,-0.099,-0.231), (0.479,-0.275,0.523,-0.231), (0.479,-0.275,0.523,-0.231), (0.484,-0.275,0.517,-0.231), (-1.012,-0.269,-0.979,-0.198), (-0.836,-0.269,-0.803,-0.198), (-0.836,-0.269,-0.797,-0.236), (-0.83,-0.269,-0.627,-0.236), (-0.66,-0.269,-0.451,-0.236), (0.919,-0.269,0.963,-0.225), (0.919,-0.269,0.963,-0.225), (0.924,-0.269,0.957,-0.225), (-1.369,-0.264,-1.336,-0.198), (-1.188,-0.264,-1.155,-0.198), (0.039,-0.264,0.083,-0.22), (0.215,-0.264,0.259,-0.22), (-1.369,-0.231,-1.155,-0.198), (-1.188,-0.231,-0.979,-0.198), (-1.012,-0.231,-0.803,-0.198), (-0.22,-0.209,-0.187,-0.159), (-0.753,-0.203,-0.709,-0.159), (-0.577,-0.203,-0.533,-0.159), (-0.225,-0.203,-0.181,-0.159), (0.743,-0.203,0.787,-0.159), (0.743,-0.203,0.787,-0.159), (0.831,-0.203,0.875,-0.159), (1.007,-0.203,1.051,-0.159), (1.095,-0.203,1.139,-0.159), (1.095,-0.203,1.139,-0.159), (-0.137,-0.198,-0.093,-0.154), (0.743,-0.198,0.787,-0.154), (1.012,-0.198,1.045,-0.159), (1.095,-0.198,1.139,-0.154), (-0.748,-0.192,-0.539,-0.159), (-0.748,-0.192,-0.715,-0.159), (-0.572,-0.192,-0.539,-0.159), (-0.572,-0.192,-0.187,-0.159), (-0.22,-0.192,-0.099,-0.159), (-0.132,-0.192,-0.099,-0.088), (0.836,-0.192,1.045,-0.159), (0.836,-0.192,0.869,-0.159), (-1.38,-0.126,-1.336,-0.082), (-1.38,-0.126,-1.336,-0.082), (-0.885,-0.126,-0.841,-0.082), (-0.88,-0.126,-0.407,-0.093), (-0.445,-0.126,-0.401,-0.082), (-1.375,-0.121,-1.342,-0.088), (-0.132,-0.121,-0.099,0.143), (-0.132,-0.121,0.468,-0.088), (0.435,-0.121,0.468,-0.049), (0.435,-0.093,0.479,-0.049), (-1.463,-0.082,-1.419,-0.038), (-1.463,-0.082,-1.419,-0.038), (-1.457,-0.077,-1.424,-0.044), (1.139,-0.071,1.183,-0.027), (-0.797,-0.06,-0.753,-0.016), (-0.797,-0.06,-0.753,-0.016), (-0.797,-0.06,-0.753,-0.016), (-0.539,-0.06,-0.489,-0.016), (-0.533,-0.06,-0.489,-0.016), (-0.533,-0.06,-0.489,-0.016), (0.699,-0.055,0.743,-0.011), (1.144,-0.055,1.177,0.083), (-1.149,-0.049,-1.105,-0.005), (-0.005,-0.049,0.039,-0.005), (-0.005,-0.049,0.039,-0.005), (0.083,-0.049,0.127,-0.005), (0.704,-0.049,0.737,0.099), (0.875,-0.049,0.919,-0.005), (0.875,-0.049,0.919,-0.005), (0.963,-0.049,1.007,-0.005), (0.963,-0.049,1.007,-0.005), (0.963,-0.049,1.007,-0.005), (-1.138,-0.044,-0.896,-0.011), (-0.929,-0.044,-0.896,0.05), (0,-0.044,0.033,-0.011), (0.083,-0.044,0.121,-0.011), (0.352,-0.038,0.385,0.099), (0.616,-0.038,0.649,0.099), (-0.269,0.011,-0.225,0.055), (-0.264,0.011,-0.231,0.05), (-0.929,0.017,-0.231,0.05), (0.215,0.022,0.259,0.066), (0.22,0.028,0.253,0.099), (0.22,0.066,0.385,0.099), (0.352,0.066,0.649,0.099), (0.616,0.066,0.737,0.099), (0.704,0.066,0.737,0.099), (0.704,0.066,1.177,0.099), (-1.188,0.105,-1.155,0.143), (-0.753,0.105,-0.709,0.149), (-0.577,0.105,-0.533,0.149), (-0.225,0.105,-0.181,0.149), (-1.364,0.11,-1.331,0.149), (-1.012,0.11,-0.979,0.143), (-0.836,0.11,-0.803,0.143), (-0.836,0.11,-0.803,0.253), (-0.748,0.11,-0.539,0.143), (-0.748,0.11,-0.715,0.143), (-0.572,0.11,-0.539,0.143), (-0.572,0.11,-0.187,0.143), (-0.22,0.11,-0.099,0.143), (-0.22,0.11,-0.187,0.143), (0.044,0.132,0.077,0.176), (0.215,0.132,0.259,0.176), (0.215,0.132,0.259,0.182), (0.391,0.132,0.435,0.182), (0.039,0.138,0.083,0.182), (0.226,0.138,0.413,0.171), (0.391,0.138,0.435,0.182), (0.396,0.138,0.605,0.171), (0.396,0.138,0.429,0.176), (0.567,0.138,0.611,0.182), (0.572,0.138,0.605,0.176), (0.061,0.143,0.237,0.176), (0.919,0.149,0.963,0.193), (0.919,0.149,0.963,0.193), (0.924,0.149,0.957,0.187), (-1.452,0.215,-1.408,0.259), (-1.276,0.215,-1.243,0.248), (-1.276,0.215,-1.243,0.347), (-0.665,0.215,-0.621,0.259), (-0.308,0.215,-0.275,0.253), (-0.137,0.215,-0.093,0.259), (-0.132,0.215,-0.099,0.253), (0.479,0.215,0.523,0.259), (0.479,0.215,0.523,0.259), (-1.1,0.22,-1.067,0.253), (-1.1,0.22,-1.067,0.347), (-0.836,0.22,-0.627,0.253), (-0.66,0.22,-0.451,0.253), (-0.66,0.22,-0.627,0.253), (-0.484,0.22,-0.451,0.253), (-0.396,0.22,-0.363,0.253), (-0.396,0.22,-0.363,0.347), (-0.308,0.22,-0.099,0.253), (0.484,0.22,0.517,0.253), (-1.446,0.226,-1.413,0.347), (0.743,0.226,0.787,0.27), (0.743,0.226,0.787,0.27), (0.831,0.226,0.875,0.27), (1.007,0.226,1.051,0.27), (1.095,0.226,1.139,0.27), (1.095,0.226,1.139,0.27), (1.095,0.226,1.139,0.275), (-0.924,0.231,-0.891,0.347), (0.748,0.231,0.781,0.264), (0.748,0.231,0.781,0.275), (0.836,0.231,0.869,0.27), (0.836,0.231,1.045,0.264), (1.012,0.231,1.045,0.27), (1.1,0.231,1.133,0.275), (0.132,0.259,0.165,0.347), (0.308,0.259,0.341,0.347), (1.188,0.259,1.221,0.347), (-0.044,0.264,-0.011,0.347), (0.655,0.264,0.699,0.308), (0.66,0.264,0.693,0.347), (1.183,0.264,1.227,0.308), (-1.485,0.308,-1.408,0.352), (-1.452,0.308,-1.391,0.352), (-1.452,0.308,-1.237,0.352), (-1.281,0.308,-1.061,0.352), (-1.105,0.308,-0.885,0.352), (-0.929,0.308,-0.357,0.352), (-0.401,0.308,-0.005,0.352), (-0.049,0.308,0.171,0.352), (0.127,0.308,0.347,0.352), (0.303,0.308,0.699,0.352), (0.655,0.308,1.227,0.352), (1.183,0.308,1.254,0.352)])
R(e_fa, via2, [(0.49,-0.264,0.512,-0.242), (0.93,-0.258,0.952,-0.236), (-0.126,-0.187,-0.104,-0.165), (0.754,-0.187,0.776,-0.165), (1.106,-0.187,1.128,-0.165), (-1.369,-0.115,-1.347,-0.093), (-1.452,-0.071,-1.43,-0.049), (-0.786,-0.049,-0.764,-0.027), (-0.522,-0.049,-0.5,-0.027), (0.006,-0.038,0.028,-0.016), (0.094,-0.038,0.116,-0.016), (0.886,-0.038,0.908,-0.016), (0.974,-0.038,0.996,-0.016), (0.93,0.16,0.952,0.182), (0.49,0.226,0.512,0.248), (0.754,0.237,0.776,0.259), (1.106,0.237,1.128,0.259)])
R(e_fa, metal3, [(-0.132,-0.308,-0.088,-0.264), (-0.132,-0.302,-0.099,-0.159), (-0.132,-0.302,-0.093,-0.269), (0.479,-0.275,0.523,-0.231), (0.919,-0.269,0.963,-0.225), (0.484,-0.264,0.957,-0.231), (0.484,-0.264,0.517,-0.231), (0.924,-0.264,0.957,-0.231), (0.924,-0.264,1.221,-0.231), (1.188,-0.264,1.221,-0.033), (-0.137,-0.198,-0.093,-0.154), (0.743,-0.198,0.787,-0.154), (1.095,-0.198,1.139,-0.154), (0.765,-0.192,1.117,-0.159), (-1.38,-0.126,-1.336,-0.082), (-1.38,-0.126,-1.336,-0.082), (-1.375,-0.121,-1.342,-0.088), (-1.463,-0.082,-1.419,-0.038), (-1.463,-0.082,-1.419,-0.038), (-1.457,-0.077,-1.424,-0.044), (1.04,-0.071,1.095,-0.027), (-0.83,-0.066,-0.786,-0.022), (1.051,-0.066,1.139,-0.033), (1.106,-0.066,1.221,-0.033), (1.188,-0.066,1.221,-0.033), (1.188,-0.066,1.221,0.187), (-0.825,-0.06,-0.759,-0.027), (-0.797,-0.06,-0.753,-0.016), (-0.533,-0.06,-0.489,-0.016), (-0.528,-0.055,-0.055,-0.022), (-0.088,-0.055,-0.055,-0.011), (-0.005,-0.049,0.039,-0.005), (0.083,-0.049,0.127,-0.005), (0.875,-0.049,0.919,-0.005), (0.963,-0.049,1.007,-0.005), (0.963,-0.049,1.007,-0.005), (-0.088,-0.044,0.033,-0.011), (0,-0.044,0.116,-0.011), (0.088,-0.044,0.913,-0.011), (0.88,-0.044,0.913,-0.011), (0.88,-0.044,1.001,-0.011), (0.919,0.149,0.963,0.193), (0.572,0.154,0.605,0.253), (0.572,0.154,0.957,0.187), (0.924,0.154,1.221,0.187), (0.479,0.215,0.523,0.259), (0.484,0.22,0.517,0.253), (0.484,0.22,0.605,0.253), (0.743,0.226,0.787,0.27), (1.095,0.226,1.139,0.27), (1.095,0.226,1.139,0.27), (0.765,0.231,1.117,0.264)])

lib.write_gds('E_FA.gds')
